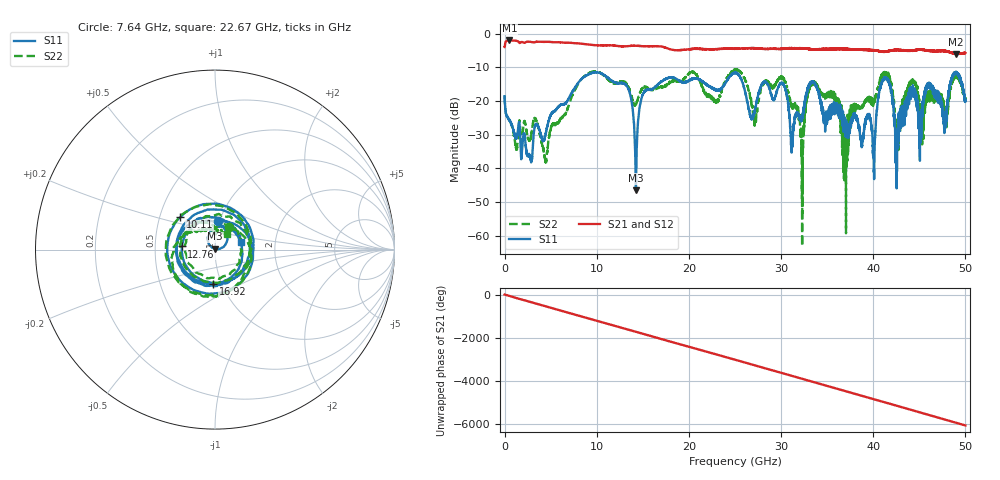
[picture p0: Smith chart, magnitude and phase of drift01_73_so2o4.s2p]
!Created with skrf (http://scikit-rf.org).
# Hz S RI R 50.0
!freq ReS11 ImS11 ReS21 ImS21 ReS12 ImS12 ReS22 ImS22
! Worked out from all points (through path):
!   10001 points, 300 kHz to 50 GHz, reference 50 ohm
!   highest |S21| = -2.00 dB at 520.3 MHz (marker M1); lowest = -6.1 dB at 48.98 GHz (marker M2)
!   group delay of S21, straight-line fit = 336 ps
!   lowest |S11| = -46.5 dB at 14.25 GHz (marker M3), VSWR 1.01, Z = 50.1 + j0.466 ohm
!   |S11| at or under -10 dB: start of sweep to end of sweep
!   |S22| runs from -63.1 to -10.6 dB; largest |S21 - S12| = 0.021
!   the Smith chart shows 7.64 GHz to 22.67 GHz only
!   S11 on the Smith chart (normalised r, x): 7.64 GHz: 0.98, +0.32; 10.11 GHz: 0.64, +0.25; 12.76 GHz: 0.69, +0.03; 16.92 GHz: 0.91, -0.36; 22.67 GHz: 1.34, +0.11
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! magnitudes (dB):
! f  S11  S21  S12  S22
! 300 kHz  -18.6  -4.0  -4.1  -18.3
! 520.3 MHz  -25.7  -2.0  -2.0  -25.6
! 4.445 GHz  -29.9  -2.4  -2.4  -38.0
! 7.64 GHz  -16.0  -2.8  -2.8  -16.7
! 8.335 GHz  -13.5  -2.9  -3.0  -13.5
! 10.11 GHz  -11.5  -3.4  -3.4  -11.4
! 12.76 GHz  -14.6  -3.7  -3.7  -14.3
! 14.25 GHz  -46.5  -3.6  -3.6  -21.2
! 16.67 GHz  -14.9  -3.7  -3.7  -15.9
! 16.92 GHz  -14.4  -3.8  -3.8  -15.9
! 22.67 GHz  -16.2  -4.6  -4.6  -19.4
! 25 GHz  -11.6  -4.5  -4.5  -10.9
! 27.18 GHz  -22.3  -4.3  -4.3  -25.9
! 30.21 GHz  -14.9  -4.5  -4.5  -13.3
! 32.28 GHz  -24.9  -4.3  -4.3  -47.8
! 33.34 GHz  -14.2  -4.6  -4.6  -14.6
! 36.97 GHz  -29.2  -4.7  -4.5  -28.7
! 40.04 GHz  -36.7  -4.9  -4.8  -19.9
! 41.67 GHz  -14.0  -5.0  -5.1  -13.0
! 42.6 GHz  -29.1  -4.8  -4.8  -31.3
! 48.98 GHz  -11.3  -6.1  -6.0  -12.5
! 50 GHz  -19.7  -5.7  -5.8  -19.4
